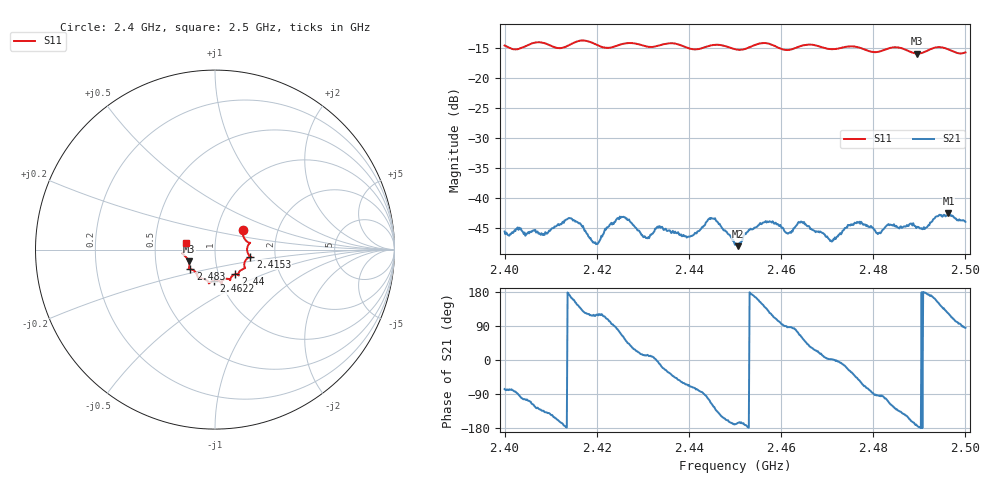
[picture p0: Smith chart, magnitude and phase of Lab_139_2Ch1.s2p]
# Hz S RI R 50
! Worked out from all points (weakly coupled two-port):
!   601 points, 2.4 GHz to 2.5 GHz, reference 50 ohm
!   highest |S21| = -42.57 dB at 2.4963 GHz (marker M1); lowest = -48.0 dB at 2.4507 GHz (marker M2)
!   lowest |S11| = -15.9 dB at 2.4895 GHz (marker M3), VSWR 1.38, Z = 36.9 - j5 ohm
!   |S11| at or under -10 dB: start of sweep to end of sweep
!   S12 and S22 are empty: the file has one direction only
!   S11 on the Smith chart (normalised r, x): 2.4 GHz: 1.33, +0.29; 2.4153 GHz: 1.48, -0.12; 2.44 GHz: 1.21, -0.34; 2.4622 GHz: 0.93, -0.33; 2.483 GHz: 0.74, -0.17; 2.5 GHz: 0.72, +0.06
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2.4e9  0.155 0.1064  0.0012 -0.00511  0 0  0 0
2.415333e9  0.1965 -0.0387  -0.00561 0.00298  0 0  0 0
2.416667e9  0.2022 -0.0427  -0.00406 0.00431  0 0  0 0
2.419833e9  0.1859 -0.045  -0.00199 0.0036  0 0  0 0
2.4255e9  0.1658 -0.0987  0.00299 0.00626  0 0  0 0
2.4305e9  0.1477 -0.1122  0.00464 0.00105  0 0  0 0
2.433333e9  0.1311 -0.1334  0.00564 -0.000504  0 0  0 0
2.44e9  0.114 -0.1364  0.00195 -0.00435  0 0  0 0
2.445167e9  0.0847 -0.1693  -0.00335 -0.00584  0 0  0 0
2.45e9  0.0647 -0.1625  -0.004 -0.000746  0 0  0 0
2.450667e9  0.0572 -0.1633  -0.00384 -0.000976  0 0  0 0
2.4565e9  0.0389 -0.193  -0.00477 0.00412  0 0  0 0
2.462167e9  -0.00738 -0.1738  0.000269 0.00511  0 0  0 0
2.466667e9  -0.0343 -0.1875  0.00461 0.00289  0 0  0 0
2.471e9  -0.0584 -0.1649  0.00433 0.000161  0 0  0 0
2.4765e9  -0.0951 -0.1557  0.0043 -0.00464  0 0  0 0
2.481167e9  -0.1205 -0.1148  -0.000387 -0.00509  0 0  0 0
2.483e9  -0.1375 -0.1095  -0.0016 -0.00571  0 0  0 0
2.483333e9  -0.1399 -0.1094  -0.00217 -0.00566  0 0  0 0
2.4895e9  -0.1463 -0.0659  -0.0057 -0.000651  0 0  0 0
2.496333e9  -0.1738 -0.0126  -0.00399 0.00628  0 0  0 0
2.5e9  -0.1596 0.0393  0.000556 0.0063  0 0  0 0
